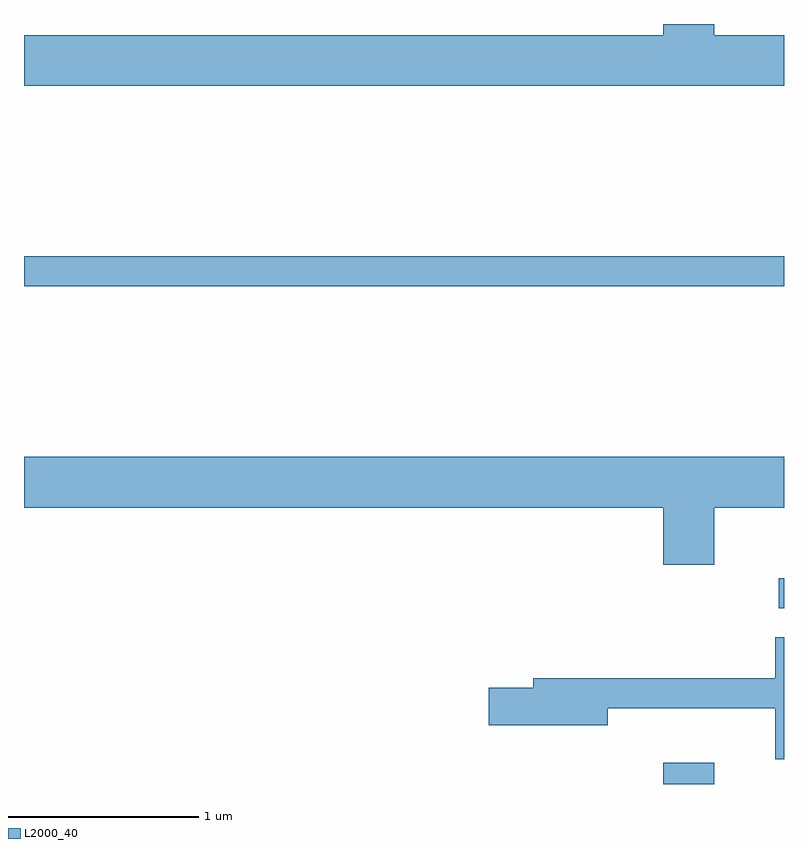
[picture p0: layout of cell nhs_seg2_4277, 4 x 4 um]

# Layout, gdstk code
import gdstk
lib = gdstk.Library(unit=1e-6, precision=1e-09)
def R(c, l, rs):  # rectangles x0, y0, x1, y1
    for r in rs: c.add(gdstk.rectangle(r[:2], r[2:], *l))
def P(c, l, *ps):  # polygons
    for p in ps: c.add(gdstk.Polygon(p, *l))
L2000_40 = (2000, 40)

nhs_seg2_4277 = lib.new_cell('nhs_seg2_4277')
R(nhs_seg2_4277, L2000_40, [(314.976,995.802,315.244,995.914), (315.583,996.726,315.611,996.884), (311.611,998.421,315.611,998.579)])
P(nhs_seg2_4277, L2000_40, [(315.611,999.744),(315.244,999.744),(315.244,999.802),(314.976,999.802),(314.976,999.744),(311.611,999.744),(311.611,999.476),(315.611,999.476)],
  [(315.244,997.256),(315.611,997.256),(315.611,997.524),(311.611,997.524),(311.611,997.256),(314.976,997.256),(314.976,996.956),(315.244,996.956)],
  [(315.611,996.574),(315.566,996.574),(315.566,996.359),(314.291,996.359),(314.291,996.309),(314.056,996.309),(314.056,996.111),(314.684,996.111),(314.684,996.201),(315.566,996.201),(315.566,995.931),(315.611,995.931)])

lib.write_gds('nhs_seg2_4277.gds')
